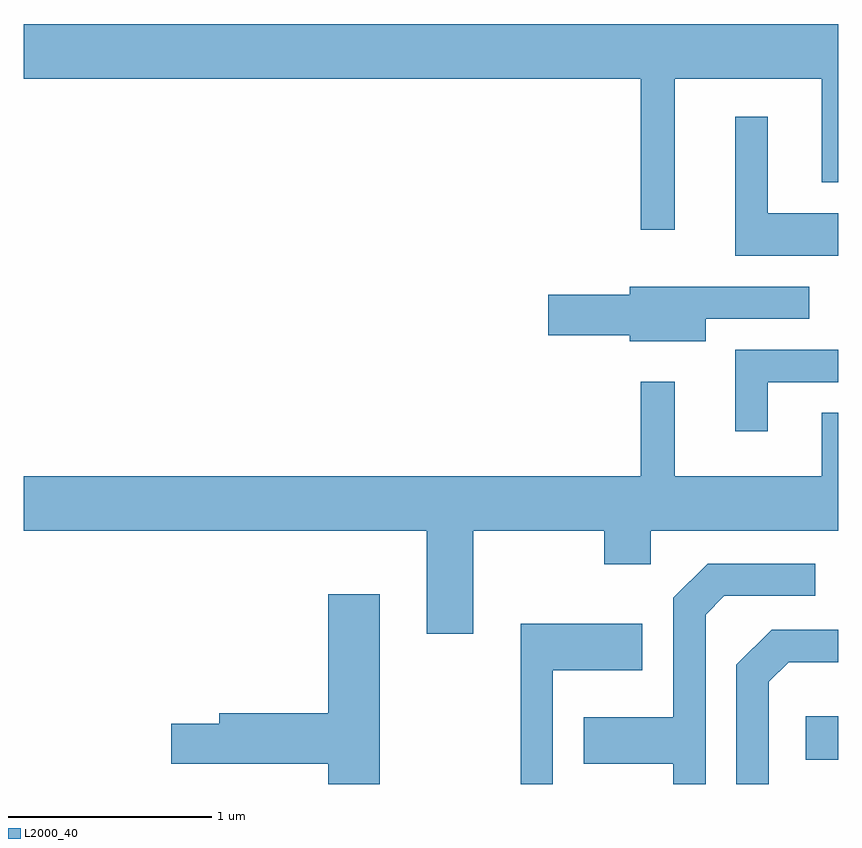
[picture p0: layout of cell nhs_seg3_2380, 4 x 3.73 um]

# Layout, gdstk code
import gdstk
lib = gdstk.Library(unit=1e-6, precision=1e-09)
def R(c, l, rs):  # rectangles x0, y0, x1, y1
    for r in rs: c.add(gdstk.rectangle(r[:2], r[2:], *l))
def P(c, l, *ps):  # polygons
    for p in ps: c.add(gdstk.Polygon(p, *l))
L2000_40 = (2000, 40)

nhs_seg3_2380 = lib.new_cell('nhs_seg3_2380')
R(nhs_seg3_2380, L2000_40, [(259.451,1116.011,259.611,1116.224)])
P(nhs_seg3_2380, L2000_40, [(258.809,1119.356),(259.531,1119.356),(259.531,1118.846),(259.611,1118.846),(259.611,1119.624),(255.611,1119.624),(255.611,1119.356),(258.641,1119.356),(258.641,1118.613),(258.809,1118.613)],
  [(259.611,1118.694),(259.264,1118.694),(259.264,1119.168),(259.106,1119.168),(259.106,1118.486),(259.611,1118.486)],
  [(258.959,1118.176),(259.468,1118.176),(259.468,1118.334),(258.586,1118.334),(258.586,1118.294),(258.186,1118.294),(258.186,1118.096),(258.586,1118.096),(258.586,1118.066),(258.959,1118.066)],
  [(259.264,1117.866),(259.611,1117.866),(259.611,1118.024),(259.106,1118.024),(259.106,1117.623),(259.264,1117.623)],
  [(257.819,1117.136),(258.461,1117.136),(258.461,1116.971),(258.689,1116.971),(258.689,1117.136),(259.611,1117.136),(259.611,1117.714),(259.531,1117.714),(259.531,1117.404),(258.809,1117.404),(258.809,1117.868),(258.641,1117.868),(258.641,1117.404),(255.611,1117.404),(255.611,1117.136),(257.591,1117.136),(257.591,1116.631),(257.819,1116.631)],
  [(258.959,1116.724),(259.052,1116.816),(259.498,1116.816),(259.498,1116.974),(258.969,1116.974),(258.801,1116.807),(258.801,1116.219),(258.361,1116.219),(258.361,1115.991),(258.801,1115.991),(258.801,1115.892),(258.959,1115.892)],
  [(257.359,1116.824),(257.106,1116.824),(257.106,1116.239),(256.571,1116.239),(256.571,1116.189),(256.336,1116.189),(256.336,1115.991),(257.106,1115.991),(257.106,1115.892),(257.359,1115.892)],
  [(258.209,1116.451),(258.649,1116.451),(258.649,1116.679),(258.051,1116.679),(258.051,1115.892),(258.209,1115.892)],
  [(259.269,1116.394),(259.367,1116.491),(259.611,1116.491),(259.611,1116.649),(259.284,1116.649),(259.111,1116.477),(259.111,1115.892),(259.269,1115.892)])

lib.write_gds('nhs_seg3_2380.gds')
